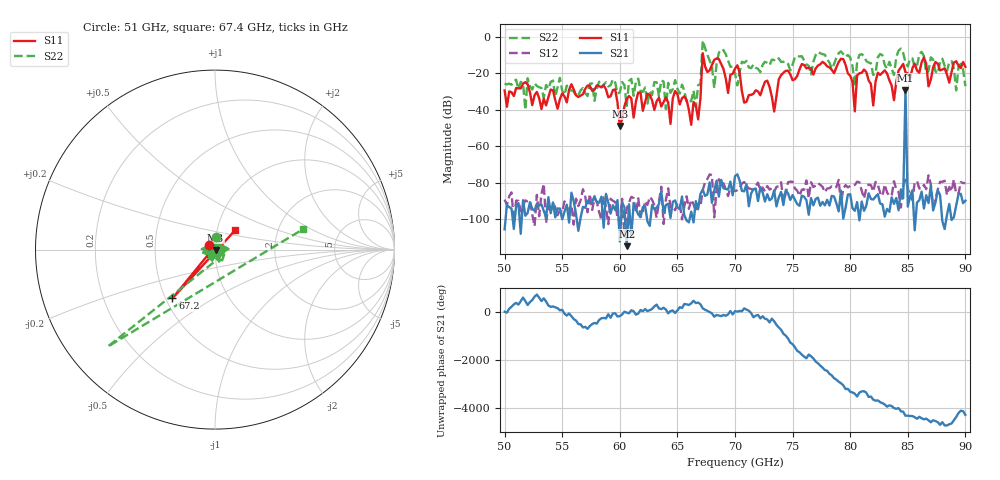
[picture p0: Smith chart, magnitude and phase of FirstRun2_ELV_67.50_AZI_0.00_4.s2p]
! 11/24/2026 3:17:18 PM
! C:\ANRITSUVNA\TEMP\TEMP.S2P
! CHANNEL.1
! TR.MEASUREMENT
! RAW.DATA
# HZ S RI R 50.0
! FREQ.HZ  S11RE  S11IM  S21RE  S21IM  S12RE  S12IM  S22RE  S22IM
!; PortSelection: Port_12
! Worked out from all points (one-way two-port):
!   201 points, 50 GHz to 90 GHz, reference 50 ohm
!   highest |S21| = -29.18 dB at 84.8 GHz (marker M1); lowest = -114.9 dB at 60.6 GHz (marker M2)
!   lowest |S11| = -48.9 dB at 60 GHz (marker M3), VSWR 1.01, Z = 50.3 - j0.144 ohm
!   |S11| at or under -10 dB: start of sweep to 67.19 GHz; 67.23 GHz to end of sweep
!   |S22| runs from -40.0 to -1.9 dB; largest |S21 - S12| = 0.035
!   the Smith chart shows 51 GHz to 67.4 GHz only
!   S11 on the Smith chart (normalised r, x): 51 GHz: 0.94, +0.05; 67.2 GHz: 0.54, -0.34; 67.4 GHz: 1.22, +0.27
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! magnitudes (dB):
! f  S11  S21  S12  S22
! 50 GHz  -29.4  -105.7  -89.4  -25.6
! 51 GHz  -28.1  -93.1  -89.9  -23.4
! 56.8 GHz  -31.4  -93.3  -83.7  -28.0
! 59.6 GHz  -28.8  -95.1  -90.7  -24.9
! 60 GHz  -48.9  -112.3  -101.8  -30.5
! 60.6 GHz  -33.9  -114.9  -94.2  -37.9
! 63.4 GHz  -33.3  -91.8  -90.4  -32.6
! 66.8 GHz  -45.2  -94.6  -91.7  -26.4
! 67.2 GHz  -8.9  -83.9  -84.2  -1.9
! 67.4 GHz  -16.1  -87.3  -79.8  -6.0
! 68.2 GHz  -12.5  -84.4  -99.1  -28.0
! 70 GHz  -17.4  -76.5  -84.7  -19.9
! 73.4 GHz  -40.9  -84.3  -85.1  -12.7
! 76.8 GHz  -20.6  -92.5  -82.4  -13.6
! 79.4 GHz  -12.2  -99.8  -83.2  -9.4
! 80.4 GHz  -40.8  -95.5  -81.3  -27.1
! 80.6 GHz  -21.0  -90.7  -79.5  -13.9
! 83.4 GHz  -23.7  -96.1  -87.1  -13.6
! 84.6 GHz  -14.8  -88.6  -82.2  -8.8
! 84.8 GHz  -19.4  -29.2  -78.4  -13.9
! 85 GHz  -19.9  -93.2  -82.9  -16.1
! 90 GHz  -16.4  -89.9  -80.3  -27.0
